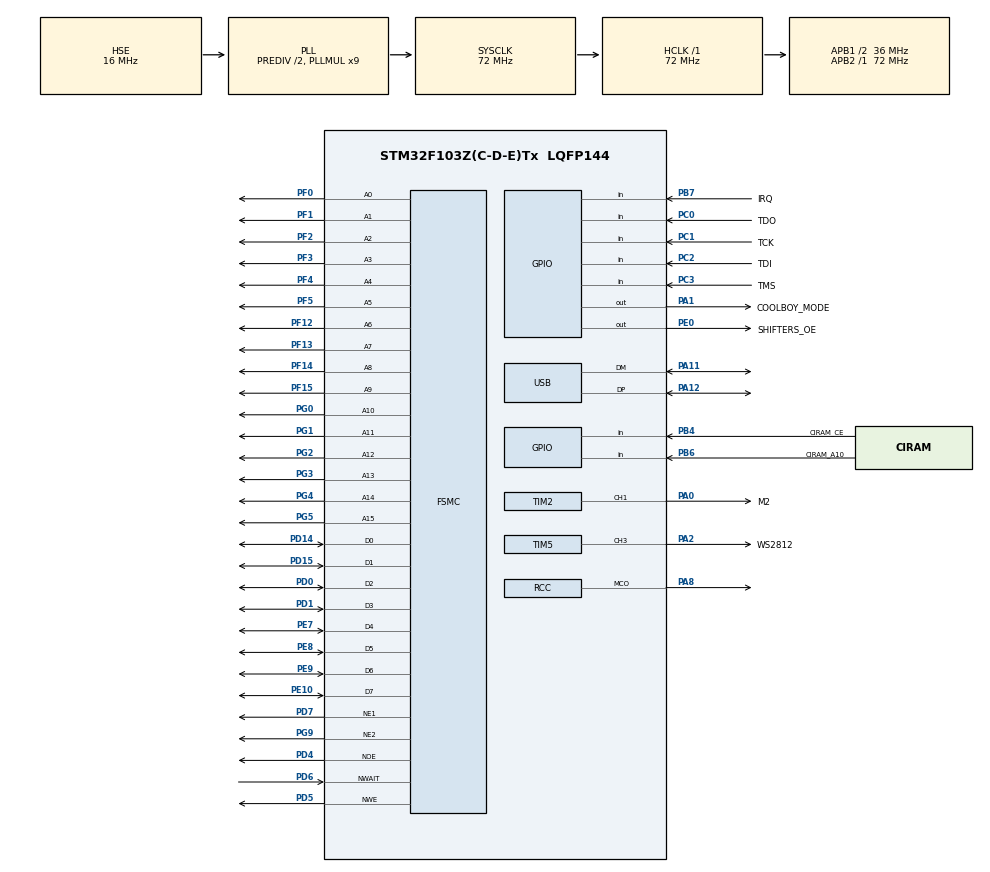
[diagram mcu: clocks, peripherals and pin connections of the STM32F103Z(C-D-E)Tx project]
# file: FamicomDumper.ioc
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Dma.Request0=TIM5_CH3/UP
Dma.TIM5_CH3/UP.0.Direction=DMA_MEMORY_TO_PERIPH
Dma.TIM5_CH3/UP.0.Instance=DMA2_Channel2
Dma.TIM5_CH3/UP.0.MemDataAlignment=DMA_MDATAALIGN_BYTE
Dma.TIM5_CH3/UP.0.MemInc=DMA_MINC_ENABLE
Dma.TIM5_CH3/UP.0.Mode=DMA_NORMAL
Dma.TIM5_CH3/UP.0.PeriphDataAlignment=DMA_PDATAALIGN_HALFWORD
Dma.TIM5_CH3/UP.0.PeriphInc=DMA_PINC_DISABLE
Dma.TIM5_CH3/UP.0.Priority=DMA_PRIORITY_VERY_HIGH
FSMC.AddressHoldTime1=1
FSMC.AddressSetupTime1=0
FSMC.AddressSetupTime2=15
FSMC.BusTurnAroundDuration1=0
FSMC.BusTurnAroundDuration2=0
FSMC.DataSetupTime1=1
FSMC.DataSetupTime2=63
FSMC.ExtendedMode1=FSMC_EXTENDED_MODE_DISABLE
FSMC.ExtendedMode2=FSMC_EXTENDED_MODE_DISABLE
FSMC.WriteOperation1=FSMC_WRITE_OPERATION_ENABLE
FSMC.WriteOperation2=FSMC_WRITE_OPERATION_ENABLE
Mcu.Family=STM32F1
Mcu.Name=STM32F103Z(C-D-E)Tx
Mcu.Package=LQFP144
NVIC.DMA2_Channel2_IRQn=true\:0\:0\:false\:false\:true\:false\:true\:true
NVIC.PriorityGroup=NVIC_PRIORITYGROUP_4
NVIC.USB_LP_CAN1_RX0_IRQn=true\:0\:0\:false\:false\:true\:false\:true\:true
OSC_IN.Mode=HSE-External-Oscillator
OSC_IN.Signal=RCC_OSC_IN
OSC_OUT.Mode=HSE-External-Oscillator
OSC_OUT.Signal=RCC_OSC_OUT
PA0-WKUP.GPIO_Label=M2
PA0-WKUP.Signal=S_TIM2_CH1_ETR
PA1.GPIO_Label=COOLBOY_MODE
PA1.Signal=GPIO_Output
PA11.Mode=Device
PA11.Signal=USB_DM
PA12.Mode=Device
PA12.Signal=USB_DP
PA13.Mode=Trace_Asynchronous_SW
PA13.Signal=SYS_JTMS-SWDIO
PA14.Mode=Trace_Asynchronous_SW
PA14.Signal=SYS_JTCK-SWCLK
PA2.GPIO_Label=WS2812
PA2.Signal=S_TIM5_CH3
PA8.Mode=Clock-out
PA8.Signal=RCC_MCO
PB3.Mode=Trace_Asynchronous_SW
PB3.Signal=SYS_JTDO-TRACESWO
PB4.GPIO_Label=CIRAM_CE
PB4.Signal=GPIO_Input
PB6.GPIO_Label=CIRAM_A10
PB6.Signal=GPIO_Input
PB7.GPIO_Label=IRQ
PB7.GPIO_PuPd=GPIO_PULLUP
PB7.Signal=GPIO_Input
PC0.GPIO_Label=TDO
PC0.Signal=GPIO_Input
PC1.GPIO_Label=TCK
PC1.Signal=GPIO_Input
PC2.GPIO_Label=TDI
PC2.Signal=GPIO_Input
PC3.GPIO_Label=TMS
PC3.Signal=GPIO_Input
PD0.Signal=FSMC_D2_DA2
PD1.Signal=FSMC_D3_DA3
PD14.Signal=FSMC_D0_DA0
PD15.Signal=FSMC_D1_DA1
PD4.Signal=FSMC_NOE
PD5.Signal=FSMC_NWE
PD6.Signal=FSMC_NWAIT
PD7.Mode=NorPsramChipSelect1_1
PD7.Signal=FSMC_NE1
PE0.GPIO_Label=SHIFTERS_OE
PE0.PinState=GPIO_PIN_RESET
PE0.Signal=GPIO_Output
PE10.Signal=FSMC_D7_DA7
PE7.Signal=FSMC_D4_DA4
PE8.Signal=FSMC_D5_DA5
PE9.Signal=FSMC_D6_DA6
PF0.Signal=FSMC_A0
PF1.Signal=FSMC_A1
PF12.Signal=FSMC_A6
PF13.Signal=FSMC_A7
PF14.Signal=FSMC_A8
PF15.Signal=FSMC_A9
PF2.Signal=FSMC_A2
PF3.Signal=FSMC_A3
PF4.Signal=FSMC_A4
PF5.Signal=FSMC_A5
PG0.Signal=FSMC_A10
PG1.Signal=FSMC_A11
PG2.Signal=FSMC_A12
PG3.Signal=FSMC_A13
PG4.Signal=FSMC_A14
PG5.Signal=FSMC_A15
PG9.Mode=NorPsramChipSelect2_2
PG9.Signal=FSMC_NE2
ProjectManager.HeapSize=0x200
ProjectManager.StackSize=0x400
ProjectManager.TargetToolchain=STM32CubeIDE
RCC.AHBFreq_Value=72000000
RCC.APB1CLKDivider=RCC_HCLK_DIV2
RCC.APB1Freq_Value=36000000
RCC.APB1TimFreq_Value=72000000
RCC.APB2Freq_Value=72000000
RCC.APB2TimFreq_Value=72000000
RCC.HCLKFreq_Value=72000000
RCC.HSEDivPLL=RCC_HSE_PREDIV_DIV2
RCC.HSE_VALUE=16000000
RCC.PLLMUL=RCC_PLL_MUL9
RCC.RCC_MCOSource=RCC_MCO1SOURCE_PLLCLK
RCC.SYSCLKFreq_VALUE=72000000
RCC.SYSCLKSource=RCC_SYSCLKSOURCE_PLLCLK
RCC.USBFreq_Value=48000000
RCC.USBPrescaler=RCC_USBCLKSOURCE_PLL_DIV1_5
SH.FSMC_A0.0=FSMC_A0,16b-a1
SH.FSMC_A0.1=FSMC_A0,14b-a2
SH.FSMC_A1.0=FSMC_A1,16b-a1
SH.FSMC_A1.1=FSMC_A1,14b-a2
SH.FSMC_A10.0=FSMC_A10,16b-a1
SH.FSMC_A10.1=FSMC_A10,14b-a2
SH.FSMC_A11.0=FSMC_A11,16b-a1
SH.FSMC_A11.1=FSMC_A11,14b-a2
SH.FSMC_A12.0=FSMC_A12,16b-a1
SH.FSMC_A12.1=FSMC_A12,14b-a2
SH.FSMC_A13.0=FSMC_A13,16b-a1
SH.FSMC_A13.1=FSMC_A13,14b-a2
SH.FSMC_A14.0=FSMC_A14,16b-a1
SH.FSMC_A15.0=FSMC_A15,16b-a1
SH.FSMC_A2.0=FSMC_A2,16b-a1
SH.FSMC_A2.1=FSMC_A2,14b-a2
SH.FSMC_A3.0=FSMC_A3,16b-a1
SH.FSMC_A3.1=FSMC_A3,14b-a2
SH.FSMC_A4.0=FSMC_A4,16b-a1
SH.FSMC_A4.1=FSMC_A4,14b-a2
SH.FSMC_A5.0=FSMC_A5,16b-a1
SH.FSMC_A5.1=FSMC_A5,14b-a2
SH.FSMC_A6.0=FSMC_A6,16b-a1
SH.FSMC_A6.1=FSMC_A6,14b-a2
SH.FSMC_A7.0=FSMC_A7,16b-a1
SH.FSMC_A7.1=FSMC_A7,14b-a2
SH.FSMC_A8.0=FSMC_A8,16b-a1
SH.FSMC_A8.1=FSMC_A8,14b-a2
SH.FSMC_A9.0=FSMC_A9,16b-a1
SH.FSMC_A9.1=FSMC_A9,14b-a2
SH.FSMC_D0_DA0.0=FSMC_D0,8b-d1
SH.FSMC_D0_DA0.1=FSMC_D0,8b-d2
SH.FSMC_D1_DA1.0=FSMC_D1,8b-d1
SH.FSMC_D1_DA1.1=FSMC_D1,8b-d2
SH.FSMC_D2_DA2.0=FSMC_D2,8b-d1
SH.FSMC_D2_DA2.1=FSMC_D2,8b-d2
SH.FSMC_D3_DA3.0=FSMC_D3,8b-d1
SH.FSMC_D3_DA3.1=FSMC_D3,8b-d2
SH.FSMC_D4_DA4.0=FSMC_D4,8b-d1
SH.FSMC_D4_DA4.1=FSMC_D4,8b-d2
SH.FSMC_D5_DA5.0=FSMC_D5,8b-d1
SH.FSMC_D5_DA5.1=FSMC_D5,8b-d2
SH.FSMC_D6_DA6.0=FSMC_D6,8b-d1
SH.FSMC_D6_DA6.1=FSMC_D6,8b-d2
SH.FSMC_D7_DA7.0=FSMC_D7,8b-d1
SH.FSMC_D7_DA7.1=FSMC_D7,8b-d2
SH.FSMC_NOE.0=FSMC_NOE,Sram1
SH.FSMC_NOE.1=FSMC_NOE,Psram2
SH.FSMC_NWAIT.0=FSMC_NWAIT,AsynchronousWait1
SH.FSMC_NWE.0=FSMC_NWE,Sram1
SH.FSMC_NWE.1=FSMC_NWE,Psram2
SH.S_TIM2_CH1_ETR.0=TIM2_CH1,PWM Generation1 CH1
SH.S_TIM5_CH3.0=TIM5_CH3,PWM Generation3 CH3
TIM1.Prescaler=71
TIM2.Channel-PWM\ Generation1\ CH1=TIM_CHANNEL_1
TIM2.Period=39
TIM2.Prescaler=0
TIM2.Pulse-PWM\ Generation1\ CH1=24
TIM2.TIM_MasterOutputTrigger=TIM_TRGO_UPDATE
TIM3.Prescaler=999
TIM5.Channel-PWM\ Generation3\ CH3=TIM_CHANNEL_3
TIM5.Period=107
TIM5.Pulse-PWM\ Generation3\ CH3=0
USB.low_power_enable=DISABLE
USB.lpm_enable=DISABLE
USB_DEVICE.CLASS_NAME_FS=CDC
USB_DEVICE.MANUFACTURER_STRING=Cluster
USB_DEVICE.PID_CDC_FS=0xBABA
USB_DEVICE.PRODUCT_STRING_CDC_FS=Famicom Dumper/Writer
USB_DEVICE.VID=0x1209
USB_DEVICE.VirtualMode=Cdc
USB_DEVICE.VirtualModeFS=Cdc_FS
VP_TIM1_VS_ClockSourceINT.Mode=Internal
VP_TIM2_VS_ClockSourceINT.Mode=Internal
VP_TIM3_VS_ClockSourceITR.Mode=TriggerSource_ITR1
VP_TIM3_VS_ControllerModeClock.Mode=Clock Mode
VP_TIM4_VS_ClockSourceITR.Mode=TriggerSource_ITR1
VP_TIM4_VS_ControllerModeClock.Mode=Clock Mode
VP_TIM5_VS_ClockSourceINT.Mode=Internal
VP_USB_DEVICE_VS_USB_DEVICE_CDC_FS.Mode=CDC_FS
board=custom

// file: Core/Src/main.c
/* USER CODE BEGIN Header */
/**
 ******************************************************************************
 * @file           : main.c
 * @brief          : Main program body
 ******************************************************************************
 * @attention
 *
 * <h2><center>&copy; Copyright (c) 2020 STMicroelectronics.
 * All rights reserved.</center></h2>
 *
 * This software component is licensed by ST under BSD 3-Clause license,
 * the "License"; You may not use this file except in compliance with the
 * License. You may obtain a copy of the License at:
 *                        opensource.org/licenses/BSD-3-Clause
 *
 ******************************************************************************
 */
/* USER CODE END Header */
#include "main.h"
#include "usb_device.h"

/* USER CODE BEGIN Includes */
#include <stdio.h>
#include "dumper.h"
#include "comm.h"
#include "flash.h"
#include "unrom512.h"
#include "fds.h"
#include "led.h"
/* USER CODE END Includes */

TIM_HandleTypeDef htim1;
TIM_HandleTypeDef htim2;
TIM_HandleTypeDef htim3;
TIM_HandleTypeDef htim4;
TIM_HandleTypeDef htim5;
DMA_HandleTypeDef hdma_tim5_ch3_up;

SRAM_HandleTypeDef hsram1;
SRAM_HandleTypeDef hsram2;

void SystemClock_Config(void);
static void MX_GPIO_Init(void);
static void MX_DMA_Init(void);
static void MX_FSMC_Init(void);
static void MX_TIM2_Init(void);
static void MX_TIM5_Init(void);
static void MX_TIM1_Init(void);
static void MX_TIM3_Init(void);
static void MX_TIM4_Init(void);

/* USER CODE BEGIN 0 */
int _write(int file, char *ptr, int len)
{
  for (int i = 0; i < len; i++)
    ITM_SendChar((*ptr++));
  return len;
}

/* USER CODE END 0 */

int main(void)
{

  /* MCU Configuration--------------------------------------------------------*/

  /* Reset of all peripherals, Initializes the Flash interface and the Systick. */
  HAL_Init();

  /* Configure the system clock */
  SystemClock_Config();

  /* Initialize all configured peripherals */
  MX_GPIO_Init();
  MX_DMA_Init();
  MX_FSMC_Init();
  MX_USB_DEVICE_Init();
  MX_TIM2_Init();
  MX_TIM5_Init();
  MX_TIM1_Init();
  MX_TIM3_Init();
  MX_TIM4_Init();
  /* USER CODE BEGIN 2 */
  // Microsecond counter
  HAL_TIM_Base_Start(&htim1);
  // M2 PWM
  HAL_TIM_PWM_Start(&htim2, TIM_CHANNEL_1);
  // 1000*M2 clock counter (slave of htim2 with /1000 prescaler)
  HAL_TIM_Base_Start(&htim3);
  // M2 clock counter (slave of htim2)
  HAL_TIM_Base_Start(&htim4);
  comm_init();
  printf("Started.\n");
  /* USER CODE END 2 */

  /* Infinite loop */
  /* USER CODE BEGIN WHILE */
  uint16_t address;
  uint32_t address32;
  uint16_t length;
  led_blue();

  while (1)
  {
    led_idle();

    if (comm_recv_done)
    {
      comm_recv_done = 0;
      switch (comm_recv_command)
      {
      case COMMAND_PRG_INIT:
        comm_start(COMMAND_PRG_STARTED, 13);
        comm_send_byte(PROTOCOL_VERSION);
        comm_send_byte(0xFF);
        comm_send_byte(0xFF); // unlimited send buffer
        comm_send_byte((RECV_BUFFER_SIZE - 8) & 0xFF);
        comm_send_byte(((RECV_BUFFER_SIZE - 8) >> 8) & 0xFF);
        comm_send_byte(FIRMWARE_VERSION_MAJOR & 0xFF);
        comm_send_byte((FIRMWARE_VERSION_MAJOR >> 8) & 0xFF);
        comm_send_byte(FIRMWARE_VERSION_MINOR);
        comm_send_byte(FIRMWARE_VERSION_SUFFIX);
#ifndef DEBUG
        comm_send_byte(HARDWARE_VERSION[0]);
        comm_send_byte(HARDWARE_VERSION[1]);
        comm_send_byte(HARDWARE_VERSION[2]);
        comm_send_byte(HARDWARE_VERSION[3]);
#else
        comm_send_byte(0);
        comm_send_byte(0);
        comm_send_byte(0);
        comm_send_byte(0);
#endif
        set_coolboy_gpio_mode(0);
        break;

      case COMMAND_COOLBOY_READ_REQUEST:
      case COMMAND_PRG_READ_REQUEST:
        address = recv_buffer[0] | ((uint16_t) recv_buffer[1] << 8);
        length = recv_buffer[2] | ((uint16_t) recv_buffer[3] << 8);
        read_prg_send(address, length);
        break;

      case COMMAND_PRG_CRC_READ_REQUEST:
        address = recv_buffer[0] | ((uint16_t) recv_buffer[1] << 8);
        length = recv_buffer[2] | ((uint16_t) recv_buffer[3] << 8);
        read_prg_crc_send(address, length);
        break;

      case COMMAND_PRG_WRITE_REQUEST:
        address = recv_buffer[0] | ((uint16_t) recv_buffer[1] << 8);
        length = recv_buffer[2] | ((uint16_t) recv_buffer[3] << 8);
        write_prg(address, length, (uint8_t*) &recv_buffer[4]);
        comm_start(COMMAND_PRG_WRITE_DONE, 0);
        break;

      case COMMAND_RESET:
        reset();
        comm_start(COMMAND_RESET_ACK, 0);
        break;

      case COMMAND_FLASH_ERASE_SECTOR_REQUEST:
      case COMMAND_COOLBOY_ERASE_SECTOR_REQUEST:
        erase_flash_sector();
        break;

      case COMMAND_FLASH_WRITE_REQUEST:
      case COMMAND_COOLBOY_WRITE_REQUEST:
        address = recv_buffer[0] | ((uint16_t) recv_buffer[1] << 8);
        length = recv_buffer[2] | ((uint16_t) recv_buffer[3] << 8);
        write_flash(address, length, (uint8_t*) &recv_buffer[4]);
        break;

      case COMMAND_UNROM512_ERASE_REQUEST:
        erase_unrom512();
        break;

      case COMMAND_UNROM512_WRITE_REQUEST:
        address32 = recv_buffer[0] | ((uint32_t) recv_buffer[1] << 8) | ((uint32_t) recv_buffer[2] << 16) | ((uint32_t) recv_buffer[3] << 24);
        length = recv_buffer[4] | ((uint16_t) recv_buffer[5] << 8);
        write_unrom512(address32, length, (uint8_t*) &recv_buffer[6]);
        break;

      case COMMAND_CHR_INIT:
        comm_start(COMMAND_CHR_STARTED, 0);
        break;

      case COMMAND_CHR_READ_REQUEST:
        address = recv_buffer[0] | ((uint16_t) recv_buffer[1] << 8);
        length = recv_buffer[2] | ((uint16_t) recv_buffer[3] << 8);
        read_chr_send(address, length);
        break;

      case COMMAND_CHR_CRC_READ_REQUEST:
        address = recv_buffer[0] | ((uint16_t) recv_buffer[1] << 8);
        length = recv_buffer[2] | ((uint16_t) recv_buffer[3] << 8);
        read_chr_crc_send(address, length);
        break;

      case COMMAND_CHR_WRITE_REQUEST:
        address = recv_buffer[0] | ((uint16_t) recv_buffer[1] << 8);
        length = recv_buffer[2] | ((uint16_t) recv_buffer[3] << 8);
        write_chr(address, length, (uint8_t*) &recv_buffer[4]);
        comm_start(COMMAND_CHR_WRITE_DONE, 0);
        break;

      case COMMAND_FDS_READ_REQUEST:
        fds_transfer(recv_buffer[0], recv_buffer[1], 0, 0, 0, 0);
        break;

      case COMMAND_FDS_WRITE_REQUEST:
        fds_transfer(0, 0, recv_buffer[0], (uint8_t*) &recv_buffer[1], (uint16_t*) &recv_buffer[1 + recv_buffer[0]], (uint8_t*) &recv_buffer[1 + recv_buffer[0] + recv_buffer[0] * 2]);
        break;

      case COMMAND_MIRRORING_REQUEST:
        get_mirroring();
        break;

      case COMMAND_SET_FLASH_BUFFER_SIZE:
        set_flash_buffer_size(recv_buffer[0] | ((uint16_t) recv_buffer[1] << 8));
        comm_start(COMMAND_SET_VALUE_DONE, 0);
        break;

      case COMMAND_SET_COOLBOY_GPIO_MODE:
        set_coolboy_gpio_mode(recv_buffer[0]);
        comm_start(COMMAND_SET_VALUE_DONE, 0);
        break;
      }
      led_off();
    }
    /* USER CODE END WHILE */

  }
}

void SystemClock_Config(void)
{
  RCC_OscInitTypeDef RCC_OscInitStruct = {0};
  RCC_ClkInitTypeDef RCC_ClkInitStruct = {0};
  RCC_PeriphCLKInitTypeDef PeriphClkInit = {0};

  /** Initializes the RCC Oscillators according to the specified parameters
  * in the RCC_OscInitTypeDef structure.
  */
  RCC_OscInitStruct.OscillatorType = RCC_OSCILLATORTYPE_HSE;
  RCC_OscInitStruct.HSEState = RCC_HSE_ON;
  RCC_OscInitStruct.HSEPredivValue = RCC_HSE_PREDIV_DIV2;
  RCC_OscInitStruct.HSIState = RCC_HSI_ON;
  RCC_OscInitStruct.PLL.PLLState = RCC_PLL_ON;
  RCC_OscInitStruct.PLL.PLLSource = RCC_PLLSOURCE_HSE;
  RCC_OscInitStruct.PLL.PLLMUL = RCC_PLL_MUL9;
  if (HAL_RCC_OscConfig(&RCC_OscInitStruct) != HAL_OK)
  {
    Error_Handler();
  }

  /** Initializes the CPU, AHB and APB buses clocks
  */
  RCC_ClkInitStruct.ClockType = RCC_CLOCKTYPE_HCLK|RCC_CLOCKTYPE_SYSCLK
                              |RCC_CLOCKTYPE_PCLK1|RCC_CLOCKTYPE_PCLK2;
  RCC_ClkInitStruct.SYSCLKSource = RCC_SYSCLKSOURCE_PLLCLK;
  RCC_ClkInitStruct.AHBCLKDivider = RCC_SYSCLK_DIV1;
  RCC_ClkInitStruct.APB1CLKDivider = RCC_HCLK_DIV2;
  RCC_ClkInitStruct.APB2CLKDivider = RCC_HCLK_DIV1;

  if (HAL_RCC_ClockConfig(&RCC_ClkInitStruct, FLASH_LATENCY_2) != HAL_OK)
  {
    Error_Handler();
  }
  PeriphClkInit.PeriphClockSelection = RCC_PERIPHCLK_USB;
  PeriphClkInit.UsbClockSelection = RCC_USBCLKSOURCE_PLL_DIV1_5;
  if (HAL_RCCEx_PeriphCLKConfig(&PeriphClkInit) != HAL_OK)
  {
    Error_Handler();
  }
  HAL_RCC_MCOConfig(RCC_MCO, RCC_MCO1SOURCE_PLLCLK, RCC_MCODIV_1);
}

static void MX_TIM1_Init(void)
{

  TIM_ClockConfigTypeDef sClockSourceConfig = {0};
  TIM_MasterConfigTypeDef sMasterConfig = {0};

  htim1.Instance = TIM1;
  htim1.Init.Prescaler = 71;
  htim1.Init.CounterMode = TIM_COUNTERMODE_UP;
  htim1.Init.Period = 65535;
  htim1.Init.ClockDivision = TIM_CLOCKDIVISION_DIV1;
  htim1.Init.RepetitionCounter = 0;
  htim1.Init.AutoReloadPreload = TIM_AUTORELOAD_PRELOAD_DISABLE;
  if (HAL_TIM_Base_Init(&htim1) != HAL_OK)
  {
    Error_Handler();
  }
  sClockSourceConfig.ClockSource = TIM_CLOCKSOURCE_INTERNAL;
  if (HAL_TIM_ConfigClockSource(&htim1, &sClockSourceConfig) != HAL_OK)
  {
    Error_Handler();
  }
  sMasterConfig.MasterOutputTrigger = TIM_TRGO_RESET;
  sMasterConfig.MasterSlaveMode = TIM_MASTERSLAVEMODE_DISABLE;
  if (HAL_TIMEx_MasterConfigSynchronization(&htim1, &sMasterConfig) != HAL_OK)
  {
    Error_Handler();
  }

}

static void MX_TIM2_Init(void)
{

  TIM_ClockConfigTypeDef sClockSourceConfig = {0};
  TIM_MasterConfigTypeDef sMasterConfig = {0};
  TIM_OC_InitTypeDef sConfigOC = {0};

  htim2.Instance = TIM2;
  htim2.Init.Prescaler = 0;
  htim2.Init.CounterMode = TIM_COUNTERMODE_UP;
  htim2.Init.Period = 39;
  htim2.Init.ClockDivision = TIM_CLOCKDIVISION_DIV1;
  htim2.Init.AutoReloadPreload = TIM_AUTORELOAD_PRELOAD_DISABLE;
  if (HAL_TIM_Base_Init(&htim2) != HAL_OK)
  {
    Error_Handler();
  }
  sClockSourceConfig.ClockSource = TIM_CLOCKSOURCE_INTERNAL;
  if (HAL_TIM_ConfigClockSource(&htim2, &sClockSourceConfig) != HAL_OK)
  {
    Error_Handler();
  }
  if (HAL_TIM_PWM_Init(&htim2) != HAL_OK)
  {
    Error_Handler();
  }
  sMasterConfig.MasterOutputTrigger = TIM_TRGO_UPDATE;
  sMasterConfig.MasterSlaveMode = TIM_MASTERSLAVEMODE_DISABLE;
  if (HAL_TIMEx_MasterConfigSynchronization(&htim2, &sMasterConfig) != HAL_OK)
  {
    Error_Handler();
  }
  sConfigOC.OCMode = TIM_OCMODE_PWM1;
  sConfigOC.Pulse = 24;
  sConfigOC.OCPolarity = TIM_OCPOLARITY_HIGH;
  sConfigOC.OCFastMode = TIM_OCFAST_DISABLE;
  if (HAL_TIM_PWM_ConfigChannel(&htim2, &sConfigOC, TIM_CHANNEL_1) != HAL_OK)
  {
    Error_Handler();
  }
  HAL_TIM_MspPostInit(&htim2);

}

static void MX_TIM3_Init(void)
{

  TIM_SlaveConfigTypeDef sSlaveConfig = {0};
  TIM_MasterConfigTypeDef sMasterConfig = {0};

  htim3.Instance = TIM3;
  htim3.Init.Prescaler = 999;
  htim3.Init.CounterMode = TIM_COUNTERMODE_UP;
  htim3.Init.Period = 65535;
  htim3.Init.ClockDivision = TIM_CLOCKDIVISION_DIV1;
  htim3.Init.AutoReloadPreload = TIM_AUTORELOAD_PRELOAD_DISABLE;
  if (HAL_TIM_Base_Init(&htim3) != HAL_OK)
  {
    Error_Handler();
  }
  sSlaveConfig.SlaveMode = TIM_SLAVEMODE_EXTERNAL1;
  sSlaveConfig.InputTrigger = TIM_TS_ITR1;
  if (HAL_TIM_SlaveConfigSynchro(&htim3, &sSlaveConfig) != HAL_OK)
  {
    Error_Handler();
  }
  sMasterConfig.MasterOutputTrigger = TIM_TRGO_RESET;
  sMasterConfig.MasterSlaveMode = TIM_MASTERSLAVEMODE_DISABLE;
  if (HAL_TIMEx_MasterConfigSynchronization(&htim3, &sMasterConfig) != HAL_OK)
  {
    Error_Handler();
  }

}

static void MX_TIM4_Init(void)
{

  TIM_SlaveConfigTypeDef sSlaveConfig = {0};
  TIM_MasterConfigTypeDef sMasterConfig = {0};

  htim4.Instance = TIM4;
  htim4.Init.Prescaler = 0;
  htim4.Init.CounterMode = TIM_COUNTERMODE_UP;
  htim4.Init.Period = 65535;
  htim4.Init.ClockDivision = TIM_CLOCKDIVISION_DIV1;
  htim4.Init.AutoReloadPreload = TIM_AUTORELOAD_PRELOAD_DISABLE;
  if (HAL_TIM_Base_Init(&htim4) != HAL_OK)
  {
    Error_Handler();
  }
  sSlaveConfig.SlaveMode = TIM_SLAVEMODE_EXTERNAL1;
  sSlaveConfig.InputTrigger = TIM_TS_ITR1;
  if (HAL_TIM_SlaveConfigSynchro(&htim4, &sSlaveConfig) != HAL_OK)
  {
    Error_Handler();
  }
  sMasterConfig.MasterOutputTrigger = TIM_TRGO_RESET;
  sMasterConfig.MasterSlaveMode = TIM_MASTERSLAVEMODE_DISABLE;
  if (HAL_TIMEx_MasterConfigSynchronization(&htim4, &sMasterConfig) != HAL_OK)
  {
    Error_Handler();
  }

}

static void MX_TIM5_Init(void)
{

  TIM_ClockConfigTypeDef sClockSourceConfig = {0};
  TIM_MasterConfigTypeDef sMasterConfig = {0};
  TIM_OC_InitTypeDef sConfigOC = {0};

  htim5.Instance = TIM5;
  htim5.Init.Prescaler = 0;
  htim5.Init.CounterMode = TIM_COUNTERMODE_UP;
  htim5.Init.Period = 107;
  htim5.Init.ClockDivision = TIM_CLOCKDIVISION_DIV1;
  htim5.Init.AutoReloadPreload = TIM_AUTORELOAD_PRELOAD_DISABLE;
  if (HAL_TIM_Base_Init(&htim5) != HAL_OK)
  {
    Error_Handler();
  }
  sClockSourceConfig.ClockSource = TIM_CLOCKSOURCE_INTERNAL;
  if (HAL_TIM_ConfigClockSource(&htim5, &sClockSourceConfig) != HAL_OK)
  {
    Error_Handler();
  }
  if (HAL_TIM_PWM_Init(&htim5) != HAL_OK)
  {
    Error_Handler();
  }
  sMasterConfig.MasterOutputTrigger = TIM_TRGO_RESET;
  sMasterConfig.MasterSlaveMode = TIM_MASTERSLAVEMODE_DISABLE;
  if (HAL_TIMEx_MasterConfigSynchronization(&htim5, &sMasterConfig) != HAL_OK)
  {
    Error_Handler();
  }
  sConfigOC.OCMode = TIM_OCMODE_PWM1;
  sConfigOC.Pulse = 0;
  sConfigOC.OCPolarity = TIM_OCPOLARITY_HIGH;
  sConfigOC.OCFastMode = TIM_OCFAST_DISABLE;
  if (HAL_TIM_PWM_ConfigChannel(&htim5, &sConfigOC, TIM_CHANNEL_3) != HAL_OK)
  {
    Error_Handler();
  }
  HAL_TIM_MspPostInit(&htim5);

}

static void MX_DMA_Init(void)
{

  /* DMA controller clock enable */
  __HAL_RCC_DMA2_CLK_ENABLE();

  /* DMA interrupt init */
  /* DMA2_Channel2_IRQn interrupt configuration */
  HAL_NVIC_SetPriority(DMA2_Channel2_IRQn, 0, 0);
  HAL_NVIC_EnableIRQ(DMA2_Channel2_IRQn);

}

static void MX_GPIO_Init(void)
{
  GPIO_InitTypeDef GPIO_InitStruct = {0};

  /* GPIO Ports Clock Enable */
  __HAL_RCC_GPIOF_CLK_ENABLE();
  __HAL_RCC_GPIOC_CLK_ENABLE();
  __HAL_RCC_GPIOA_CLK_ENABLE();
  __HAL_RCC_GPIOG_CLK_ENABLE();
  __HAL_RCC_GPIOE_CLK_ENABLE();
  __HAL_RCC_GPIOD_CLK_ENABLE();
  __HAL_RCC_GPIOB_CLK_ENABLE();

  /*Configure GPIO pin Output Level */
  HAL_GPIO_WritePin(COOLBOY_MODE_GPIO_Port, COOLBOY_MODE_Pin, GPIO_PIN_RESET);

  /*Configure GPIO pin Output Level */
  HAL_GPIO_WritePin(SHIFTERS_OE_GPIO_Port, SHIFTERS_OE_Pin, GPIO_PIN_RESET);

  /*Configure GPIO pins : TDO_Pin TCK_Pin TDI_Pin TMS_Pin */
  GPIO_InitStruct.Pin = TDO_Pin|TCK_Pin|TDI_Pin|TMS_Pin;
  GPIO_InitStruct.Mode = GPIO_MODE_INPUT;
  GPIO_InitStruct.Pull = GPIO_NOPULL;
  HAL_GPIO_Init(GPIOC, &GPIO_InitStruct);

  /*Configure GPIO pin : COOLBOY_MODE_Pin */
  GPIO_InitStruct.Pin = COOLBOY_MODE_Pin;
  GPIO_InitStruct.Mode = GPIO_MODE_OUTPUT_PP;
  GPIO_InitStruct.Pull = GPIO_NOPULL;
  GPIO_InitStruct.Speed = GPIO_SPEED_FREQ_LOW;
  HAL_GPIO_Init(COOLBOY_MODE_GPIO_Port, &GPIO_InitStruct);

  /*Configure GPIO pin : PA8 */
  GPIO_InitStruct.Pin = GPIO_PIN_8;
  GPIO_InitStruct.Mode = GPIO_MODE_AF_PP;
  GPIO_InitStruct.Speed = GPIO_SPEED_FREQ_LOW;
  HAL_GPIO_Init(GPIOA, &GPIO_InitStruct);

  /*Configure GPIO pins : CIRAM_CE_Pin CIRAM_A10_Pin */
  GPIO_InitStruct.Pin = CIRAM_CE_Pin|CIRAM_A10_Pin;
  GPIO_InitStruct.Mode = GPIO_MODE_INPUT;
  GPIO_InitStruct.Pull = GPIO_NOPULL;
  HAL_GPIO_Init(GPIOB, &GPIO_InitStruct);

  /*Configure GPIO pin : IRQ_Pin */
  GPIO_InitStruct.Pin = IRQ_Pin;
  GPIO_InitStruct.Mode = GPIO_MODE_INPUT;
  GPIO_InitStruct.Pull = GPIO_PULLUP;
  HAL_GPIO_Init(IRQ_GPIO_Port, &GPIO_InitStruct);

  /*Configure GPIO pin : SHIFTERS_OE_Pin */
  GPIO_InitStruct.Pin = SHIFTERS_OE_Pin;
  GPIO_InitStruct.Mode = GPIO_MODE_OUTPUT_PP;
  GPIO_InitStruct.Pull = GPIO_NOPULL;
  GPIO_InitStruct.Speed = GPIO_SPEED_FREQ_LOW;
  HAL_GPIO_Init(SHIFTERS_OE_GPIO_Port, &GPIO_InitStruct);

}

/* FSMC initialization function */
static void MX_FSMC_Init(void)
{

  FSMC_NORSRAM_TimingTypeDef Timing = {0};

  /** Perform the SRAM1 memory initialization sequence
  */
  hsram1.Instance = FSMC_NORSRAM_DEVICE;
  hsram1.Extended = FSMC_NORSRAM_EXTENDED_DEVICE;
  /* hsram1.Init */
  hsram1.Init.NSBank = FSMC_NORSRAM_BANK1;
  hsram1.Init.DataAddressMux = FSMC_DATA_ADDRESS_MUX_DISABLE;
  hsram1.Init.MemoryType = FSMC_MEMORY_TYPE_SRAM;
  hsram1.Init.MemoryDataWidth = FSMC_NORSRAM_MEM_BUS_WIDTH_8;
  hsram1.Init.BurstAccessMode = FSMC_BURST_ACCESS_MODE_DISABLE;
  hsram1.Init.WaitSignalPolarity = FSMC_WAIT_SIGNAL_POLARITY_LOW;
  hsram1.Init.WrapMode = FSMC_WRAP_MODE_DISABLE;
  hsram1.Init.WaitSignalActive = FSMC_WAIT_TIMING_BEFORE_WS;
  hsram1.Init.WriteOperation = FSMC_WRITE_OPERATION_ENABLE;
  hsram1.Init.WaitSignal = FSMC_WAIT_SIGNAL_DISABLE;
  hsram1.Init.ExtendedMode = FSMC_EXTENDED_MODE_DISABLE;
  hsram1.Init.AsynchronousWait = FSMC_ASYNCHRONOUS_WAIT_ENABLE;
  hsram1.Init.WriteBurst = FSMC_WRITE_BURST_DISABLE;
  /* Timing */
  Timing.AddressSetupTime = 0;
  Timing.AddressHoldTime = 1;
  Timing.DataSetupTime = 1;
  Timing.BusTurnAroundDuration = 0;
  Timing.CLKDivision = 16;
  Timing.DataLatency = 17;
  Timing.AccessMode = FSMC_ACCESS_MODE_A;
  /* ExtTiming */

  if (HAL_SRAM_Init(&hsram1, &Timing, NULL) != HAL_OK)
  {
    Error_Handler( );
  }

  /** Perform the SRAM2 memory initialization sequence
  */
  hsram2.Instance = FSMC_NORSRAM_DEVICE;
  hsram2.Extended = FSMC_NORSRAM_EXTENDED_DEVICE;
  /* hsram2.Init */
  hsram2.Init.NSBank = FSMC_NORSRAM_BANK2;
  hsram2.Init.DataAddressMux = FSMC_DATA_ADDRESS_MUX_DISABLE;
  hsram2.Init.MemoryType = FSMC_MEMORY_TYPE_PSRAM;
  hsram2.Init.MemoryDataWidth = FSMC_NORSRAM_MEM_BUS_WIDTH_8;
  hsram2.Init.BurstAccessMode = FSMC_BURST_ACCESS_MODE_DISABLE;
  hsram2.Init.WaitSignalPolarity = FSMC_WAIT_SIGNAL_POLARITY_LOW;
  hsram2.Init.WrapMode = FSMC_WRAP_MODE_DISABLE;
  hsram2.Init.WaitSignalActive = FSMC_WAIT_TIMING_BEFORE_WS;
  hsram2.Init.WriteOperation = FSMC_WRITE_OPERATION_ENABLE;
  hsram2.Init.WaitSignal = FSMC_WAIT_SIGNAL_DISABLE;
  hsram2.Init.ExtendedMode = FSMC_EXTENDED_MODE_DISABLE;
  hsram2.Init.AsynchronousWait = FSMC_ASYNCHRONOUS_WAIT_DISABLE;
  hsram2.Init.WriteBurst = FSMC_WRITE_BURST_DISABLE;
  /* Timing */
  Timing.AddressSetupTime = 15;
  Timing.AddressHoldTime = 15;
  Timing.DataSetupTime = 63;
  Timing.BusTurnAroundDuration = 0;
  Timing.CLKDivision = 16;
  Timing.DataLatency = 17;
  Timing.AccessMode = FSMC_ACCESS_MODE_A;
  /* ExtTiming */

  if (HAL_SRAM_Init(&hsram2, &Timing, NULL) != HAL_OK)
  {
    Error_Handler( );
  }

  /** Disconnect NADV
  */

  __HAL_AFIO_FSMCNADV_DISCONNECTED();

}

void Error_Handler(void)
{
}
